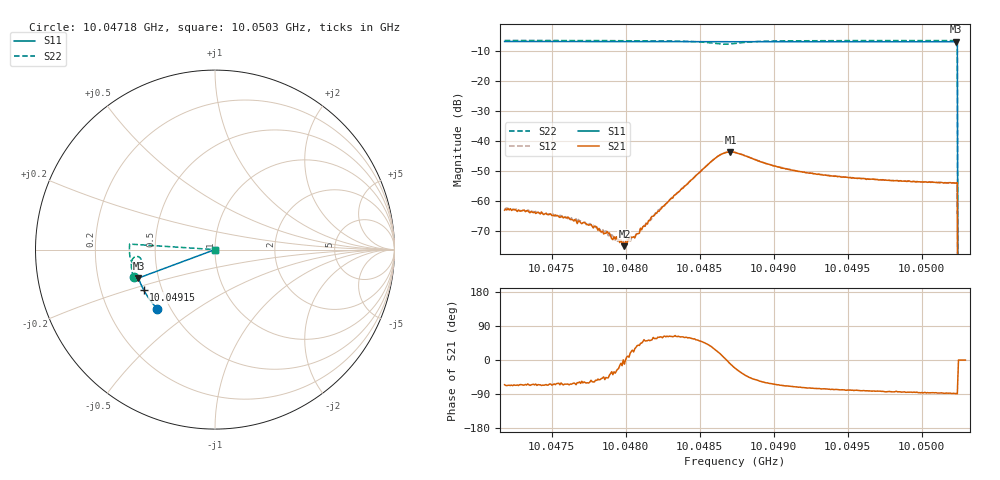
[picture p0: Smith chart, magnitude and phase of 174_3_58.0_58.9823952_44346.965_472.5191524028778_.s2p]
#  HZ  S  RI  R  50.00
! Rohde & Schwarz Vector Network Analyzer
! Rohde-Schwarz,ZNB20-2Port,1311601062101988,3.16
! Created: UTC 3/21/2024, 12:58:04 AM
! freq[Hz]  re:S11  im:S11  re:S21  im:S21  re:S12  im:S12  re:S22  im:S22
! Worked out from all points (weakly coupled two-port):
!   401 points, 10.04718 GHz to 10.0503 GHz, reference 50 ohm
!   highest |S21| = -43.54 dB at 10.04871 GHz (marker M1); lowest = -74.9 dB at 10.04799 GHz (marker M2)
!   lowest |S11| = -6.8 dB at 10.05023 GHz (marker M3), VSWR 2.67, Z = 19.3 - j7.71 ohm
!   |S11| at or under -10 dB: 10.05024 GHz to end of sweep
!   |S22| runs from - to -6.4 dB; largest |S21 - S12| = 0.00045
!   S11 on the Smith chart (normalised r, x): 10.04718 GHz: 0.42, -0.35; 10.04915 GHz: 0.40, -0.22; 10.0503 GHz: 1.00, +0.00
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1.0047182e10  -0.3219 -0.3291  0.000299 -0.000647  0.00033 -0.000658  -0.4536 -0.1548
1.0047478e10  -0.3351 -0.3147  0.000245 -0.000544  0.000296 -0.000539  -0.4589 -0.1346
1.0047704e10  -0.3448 -0.3033  0.000237 -0.000352  0.00025 -0.000369  -0.4627 -0.1187
1.0047781e10  -0.3482 -0.2993  0.000191 -0.000305  0.00024 -0.000318  -0.4638 -0.1129
1.0047859e10  -0.3514 -0.2952  0.000183 -0.000231  0.000233 -0.000212  -0.4648 -0.1069
1.0047961e10  -0.3555 -0.2897  0.0002 -5.04e-05  0.000199 -4.43e-05  -0.4657 -0.099
1.0047992e10  -0.3568 -0.2883  0.000176 -3.4e-05  0.00022 -4.41e-07  -0.4661 -0.0964
1.0048046e10  -0.3591 -0.2854  0.000227 0.00011  0.000216 0.000108  -0.4664 -0.0919
1.0048077e10  -0.3602 -0.2839  0.000228 0.000176  0.000244 0.000157  -0.4666 -0.0892
1.0048225e10  -0.3659 -0.276  0.000343 0.000587  0.000327 0.000647  -0.4664 -0.0755
1.0048591e10  -0.3791 -0.2555  0.00415 0.00256  0.00406 0.00283  -0.4295 -0.0386
1.0048653e10  -0.381 -0.252  0.00609 0.00119  0.00603 0.00153  -0.4135 -0.0509
1.0048708e10  -0.3828 -0.2493  0.00654 -0.0012  0.00665 -0.000782  -0.4129 -0.0708
1.0048739e10  -0.3838 -0.2478  0.00605 -0.00238  0.00626 -0.00199  -0.4192 -0.0797
1.004898e10  -0.3922 -0.2342  0.00189 -0.00358  0.00209 -0.00348  -0.463 -0.0697
1.0049151e10  -0.3977 -0.2242  0.00104 -0.00304  0.00122 -0.00299  -0.4707 -0.0519
1.004926e10  -0.4012 -0.2179  0.000797 -0.00282  0.00094 -0.00278  -0.4731 -0.042
1.0049782e10  -0.4157 -0.1865  0.000269 -0.00221  0.000383 -0.00222  -0.4768 -0.00161
1.0050226e10  -0.4262 -0.1595  4.57e-05 -0.00201  0.000172 -0.002  -0.4759 0.0297
1.0050233e10  -0.4263 -0.1588  5.38e-05 -0.00202  0.000184 -0.00201  -0.4758 0.0302
1.0050265e10  0 0  0 0  0 0  0 0
1.0050296e10  0 0  0 0  0 0  0 0
